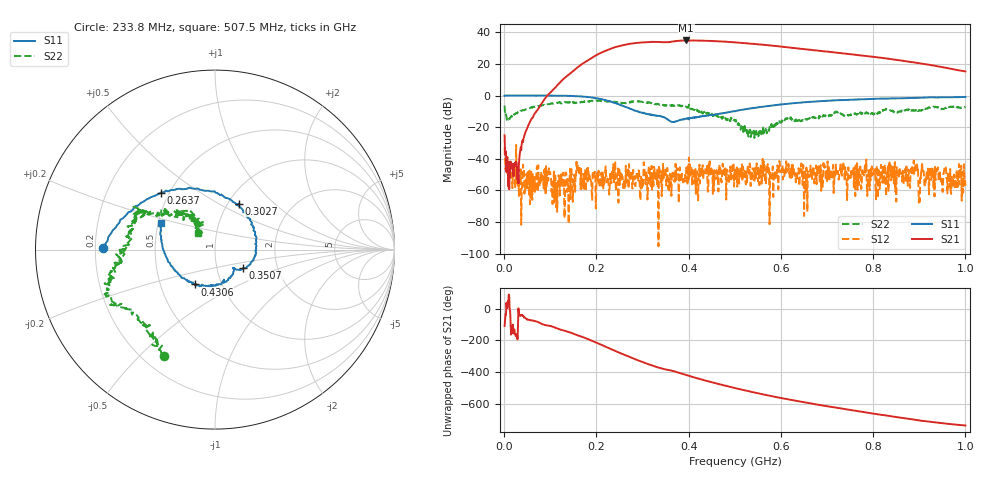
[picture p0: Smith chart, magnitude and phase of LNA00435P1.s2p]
! Created with skrf 1.9.0 (http://scikit-rf.org).
# Hz S RI R 50.0
!freq ReS11 ImS11 ReS21 ImS21 ReS12 ImS12 ReS22 ImS22
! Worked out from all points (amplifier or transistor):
!   1001 points, 1 MHz to 1 GHz, reference 50 ohm
!   highest |S21| = 34.8 dB at 394.6 MHz (marker M1)
!   |S21| within 3 dB of that: 257.1 MHz to 571.5 MHz (314.4 MHz wide, 75.9 % of centre)
!   unconditionally stable (mu >= 1): 237 MHz to 302.6 MHz; 303.1 MHz to 400.4 MHz; 400.8 MHz to end of sweep (the widest 3 of 32)
!   at 166.8 MHz: K = 1.12, MAG = 30.7 dB, |S12| = -46.2 dB
!   at 500.5 MHz: K = 2.77, MAG = 34.1 dB, |S12| = -49.2 dB
!   at 1 GHz: K = 9.19, MAG = 23.5 dB, |S12| = -57.1 dB
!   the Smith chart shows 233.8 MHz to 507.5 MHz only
!   S11 on the Smith chart (normalised r, x): 233.8 MHz: 0.23, +0.01; 263.7 MHz: 0.45, +0.36; 302.7 MHz: 1.12, +0.63; 350.6 MHz: 1.33, -0.29; 430.6 MHz: 0.74, -0.30; 507.5 MHz: 0.52, +0.17
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1000000  0.9809 0.00704  -0.0186 -0.0519  -0.022 0.00632  0.3287 0.3477
1.08892e8  0.529 -0.8423  -0.7842 -1.479  -0.000152 -0.000391  0.4283 -0.3798
1.67833e8  -0.2224 -0.903  -9.624 -0.5698  -0.0011 -0.000248  0.0434 -0.6339
2.06794e8  -0.6499 -0.4458  -15.68 14.45  0.000602 0.0011  -0.1796 -0.6562
2.33767e8  -0.626 0.00764  -6.415 30.48  -0.00265 -0.0027  -0.2862 -0.5913
2.63737e8  -0.2992 0.318  17.36 36.66  -0.00561 0.0022  -0.4456 -0.3528
2.82718e8  -0.0621 0.3287  33.12 30.43  -0.00194 -0.00194  -0.5814 -0.2557
3.02698e8  0.1326 0.2559  44.53 16.77  -0.00521 0.00581  -0.6155 -0.1884
3.34666e8  0.2256 -0.0126  48.2 -9.755  1.73e-05 -3.69e-07  -0.5289 -0.0473
3.5065e8  0.1562 -0.1038  44.11 -19.27  -0.000918 -0.00252  -0.4954 0.0737
3.72628e8  0.1057 -0.1097  41.29 -32.75  -0.000128 0.002  -0.4521 0.1737
3.94606e8  0.0625 -0.1762  28.53 -46.9  0.00212 0.00266  -0.3855 0.2128
4.3057e8  -0.1135 -0.1943  1.259 -53.88  0.00314 0.00542  -0.1986 0.18
4.59541e8  -0.2309 -0.104  -18.61 -48.59  0.00411 -0.000669  -0.1342 0.2138
5.005e8  -0.3001 0.1052  -37.01 -30.53  -0.00193 -0.00286  -0.1028 0.1361
5.07493e8  -0.3011 0.1484  -38.58 -26.59  0.00348 -0.00262  -0.0967 0.0941
5.42458e8  -0.2392 0.3286  -41.52 -8.454  -0.000384 -0.002  -0.045 0.00725
5.88412e8  -0.046 0.495  -35.15 10.57  0.000419 -0.00437  -0.1163 -0.0688
6.67333e8  0.3332 0.5417  -14.02 23.44  1.18e-06 -0.00229  -0.1933 -0.0476
7.53247e8  0.6403 0.3638  3.468 19.65  -0.00375 -9.87e-06  -0.2444 -0.00209
8.34166e8  0.7951 0.1238  10.42 10.02  -0.003 -0.000308  -0.3653 -0.0098
1e9  0.8053 -0.4032  5.547 -1.603  -0.000259 0.00137  -0.3421 0.2654
